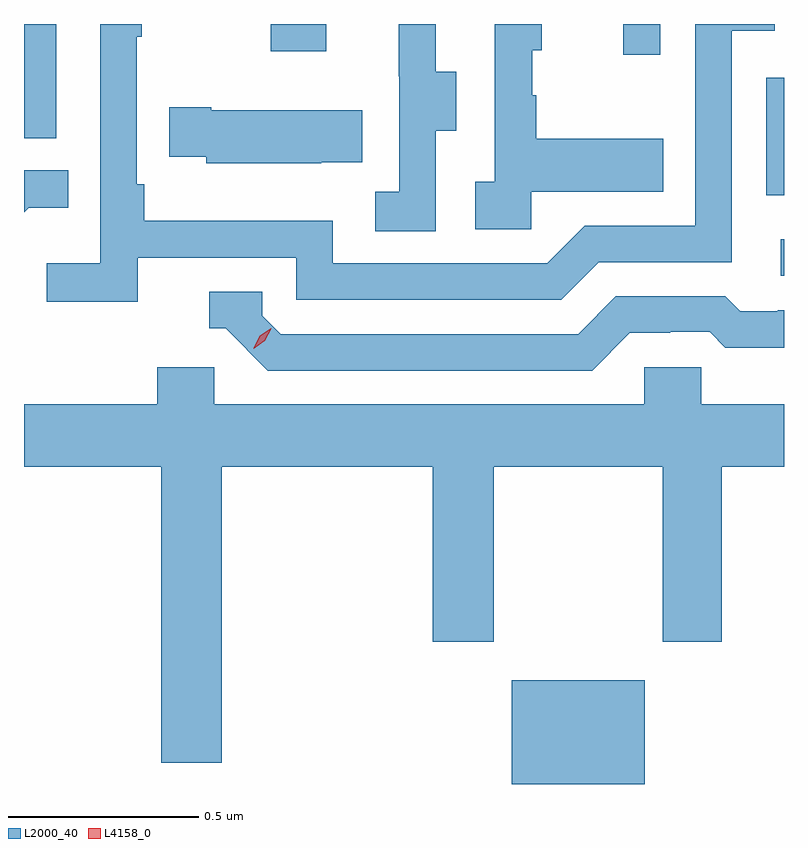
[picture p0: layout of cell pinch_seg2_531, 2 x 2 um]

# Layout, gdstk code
import gdstk
lib = gdstk.Library(unit=1e-6, precision=1e-09)
def R(c, l, rs):  # rectangles x0, y0, x1, y1
    for r in rs: c.add(gdstk.rectangle(r[:2], r[2:], *l))
def P(c, l, *ps):  # polygons
    for p in ps: c.add(gdstk.Polygon(p, *l))
L2000_40 = (2000, 40)
L4158_0 = (4158, 0)

pinch_seg2_531 = lib.new_cell('pinch_seg2_531')
R(pinch_seg2_531, L2000_40, [(991.19,590.857,991.54,591.13), (991.899,592.194,991.907,592.29), (991.86,592.407,991.907,592.716), (989.907,592.557,989.992,592.857), (991.484,592.776,991.581,592.857), (990.556,592.785,990.703,592.857)])
P(pinch_seg2_531, L2000_40, [(991.242,592.415),(991.589,592.415),(991.589,592.555),(991.255,592.555),(991.255,592.67),(991.245,592.67),(991.245,592.788),(991.27,592.788),(991.27,592.857),(991.146,592.857),(991.146,592.442),(991.095,592.442),(991.095,592.317),(991.242,592.317)],
  [(990.99,592.576),(991.045,592.576),(991.045,592.731),(990.991,592.731),(990.991,592.857),(990.893,592.857),(990.893,592.719),(990.894,592.719),(990.894,592.415),(990.831,592.415),(990.831,592.312),(990.99,592.312)],
  [(990.206,592.242),(990.624,592.242),(990.624,592.131),(991.321,592.131),(991.42,592.23),(991.77,592.23),(991.77,592.839),(991.883,592.839),(991.883,592.857),(991.674,592.857),(991.674,592.326),(991.383,592.326),(991.284,592.227),(990.72,592.227),(990.72,592.339),(990.224,592.339),(990.224,592.435),(990.204,592.435),(990.204,592.823),(990.217,592.823),(990.217,592.857),(990.108,592.857),(990.108,592.228),(989.967,592.228),(989.967,592.126),(990.206,592.126)],
  [(990.689,592.493),(990.797,592.493),(990.797,592.63),(990.4,592.63),(990.4,592.638),(990.289,592.638),(990.289,592.508),(990.387,592.508),(990.387,592.49),(990.689,592.49)],
  [(989.919,592.373),(990.023,592.373),(990.023,592.472),(989.907,592.472),(989.907,592.361)],
  [(991.501,592.044),(991.608,592.044),(991.608,592.047),(991.711,592.047),(991.753,592.005),(991.907,592.005),(991.907,592.104),(991.891,592.104),(991.891,592.101),(991.792,592.101),(991.753,592.14),(991.464,592.14),(991.365,592.041),(990.582,592.041),(990.534,592.089),(990.534,592.152),(990.395,592.152),(990.395,592.056),(990.438,592.056),(990.549,591.945),(991.402,591.945)],
  [(990.428,591.692),(990.983,591.692),(990.983,591.231),(991.143,591.231),(991.143,591.692),(991.588,591.692),(991.588,591.231),(991.743,591.231),(991.743,591.692),(991.907,591.692),(991.907,591.856),(991.689,591.856),(991.689,591.954),(991.539,591.954),(991.539,591.856),(990.408,591.856),(990.408,591.954),(990.257,591.954),(990.257,591.856),(989.907,591.856),(989.907,591.692),(990.268,591.692),(990.268,590.913),(990.428,590.913)])
P(pinch_seg2_531, L4158_0, [(990.511,592.003),(990.511,592.004),(990.527,592.036),(990.557,592.056),(990.557,592.056),(990.557,592.055),(990.541,592.023),(990.511,592.003)])

lib.write_gds('pinch_seg2_531.gds')
